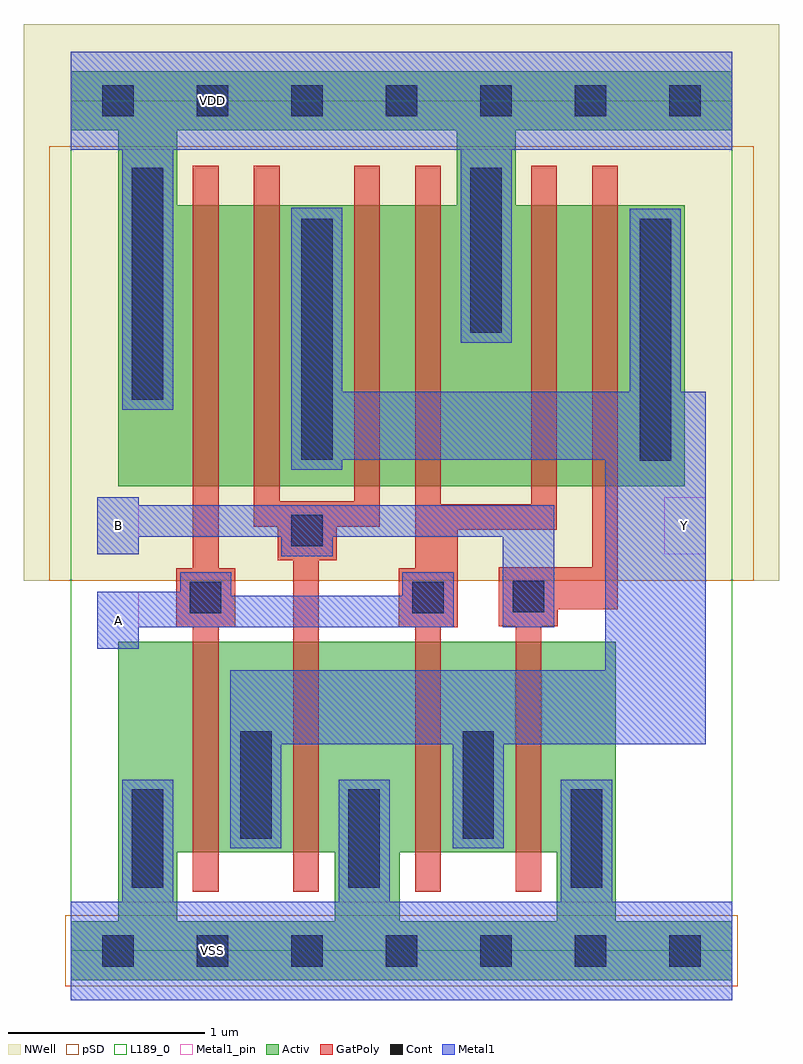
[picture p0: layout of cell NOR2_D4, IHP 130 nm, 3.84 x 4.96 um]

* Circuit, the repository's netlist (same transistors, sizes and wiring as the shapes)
* Extracted by KLayout with SG13G2 LVS runset on : 03/08/2026 22:24

.SUBCKT NOR2_D4
M$1 \$1 \$4 \$3 \$1 sg13_lv_nmos L=0.13u W=2.14u AS=0.81755p AD=0.4066p
+ PS=5.42u PD=2.9u rfmode=0
M$2 \$1 \$5 \$3 \$1 sg13_lv_nmos L=0.13u W=2.14u AS=0.81755p AD=0.4066p
+ PS=5.42u PD=2.9u rfmode=0
M$5 \$2 \$4 \$6 \$2 sg13_lv_pmos L=0.13u W=1.43u AS=0.6334p AD=0.1287p PS=4.22u
+ PD=1.61u rfmode=0
M$6 \$6 \$5 \$3 \$2 sg13_lv_pmos L=0.13u W=1.43u AS=0.1287p AD=0.2717p PS=1.61u
+ PD=1.81u rfmode=0
M$7 \$3 \$5 \$7 \$2 sg13_lv_pmos L=0.13u W=1.43u AS=0.2717p AD=0.1287p PS=1.81u
+ PD=1.61u rfmode=0
M$8 \$7 \$4 \$2 \$2 sg13_lv_pmos L=0.13u W=1.43u AS=0.1287p AD=0.3739p PS=1.61u
+ PD=2.19u rfmode=0
M$9 \$2 \$4 \$8 \$2 sg13_lv_pmos L=0.13u W=1.43u AS=0.3739p AD=0.1287p PS=2.19u
+ PD=1.61u rfmode=0
M$10 \$8 \$5 \$3 \$2 sg13_lv_pmos L=0.13u W=1.43u AS=0.1287p AD=0.4862p
+ PS=1.61u PD=3.54u rfmode=0
.ENDS NOR2_D4

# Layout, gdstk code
import gdstk
lib = gdstk.Library(unit=1e-6, precision=1e-09)
def R(c, l, rs):  # rectangles x0, y0, x1, y1
    for r in rs: c.add(gdstk.rectangle(r[:2], r[2:], *l))
def A(c, l, x, y, w, h, nx, ny, dx, dy):  # array of equal rectangles
    R(c, l, [(x+i*dx, y+j*dy, x+i*dx+w, y+j*dy+h) for i in range(nx) for j in range(ny)])
def P(c, l, *ps):  # polygons
    for p in ps: c.add(gdstk.Polygon(p, *l))
Activ = (1, 0)
GatPoly = (5, 0)
Cont = (6, 0)
Metal1 = (8, 0)
Metal1_pin = (8, 2)
pSD = (14, 0)
NWell = (31, 0)
L189_0 = (189, 0)

nor2_d4 = lib.new_cell('NOR2_D4')
P(nor2_d4, Activ, [(0,-0.15),(0,0.15),(0.24,0.15),(0.24,0.5),(0.54,0.5),(0.54,0.15),(1.34,0.15),(1.34,0.5),(1.67,0.5),(1.67,0.15),(2.47,0.15),(2.47,0.5),(0.24,0.5),(0.24,1.57),(2.77,1.57),(2.77,0.15),(3.36,0.15),(3.36,-0.15)],
  [(0.24,2.36),(0.24,4.17),(0.54,4.17),(0.54,3.79),(1.96,3.79),(1.96,4.17),(0,4.17),(0,4.47),(3.36,4.47),(3.36,4.17),(2.26,4.17),(2.26,3.79),(3.12,3.79),(3.12,2.36)])
P(nor2_d4, GatPoly, [(0.62,0.3),(0.62,1.645),(0.535,1.645),(0.535,1.945),(0.62,1.945),(0.62,3.99),(0.75,3.99),(0.75,1.945),(0.835,1.945),(0.835,1.645),(0.75,1.645),(0.75,0.3)],
  [(1.13,0.3),(1.13,1.985),(1.05,1.985),(1.05,2.155),(0.93,2.155),(0.93,3.99),(1.06,3.99),(1.06,2.285),(1.44,2.285),(1.44,3.99),(1.57,3.99),(1.57,2.155),(1.35,2.155),(1.35,1.985),(1.26,1.985),(1.26,0.3)],
  [(1.75,0.3),(1.75,1.645),(1.665,1.645),(1.665,1.945),(1.75,1.945),(1.75,3.99),(1.88,3.99),(1.88,2.27),(2.34,2.27),(2.34,3.99),(2.47,3.99),(2.47,2.14),(1.965,2.14),(1.965,1.645),(1.88,1.645),(1.88,0.3)],
  [(2.26,0.3),(2.26,1.65),(2.175,1.65),(2.175,1.95),(2.65,1.95),(2.65,3.99),(2.78,3.99),(2.78,1.735),(2.475,1.735),(2.475,1.65),(2.39,1.65),(2.39,0.3)])
A(nor2_d4, Cont, 0.16, -0.08, 0.16, 0.16, 7, 2, 0.48, 4.32)
R(nor2_d4, Cont, [(0.31,0.32,0.47,0.82), (1.41,0.32,1.57,0.82), (2.54,0.32,2.7,0.82), (0.86,0.57,1.02,1.115), (1.99,0.57,2.15,1.115), (0.605,1.715,0.765,1.875), (1.735,1.715,1.895,1.875), (2.245,1.72,2.405,1.88), (1.12,2.055,1.28,2.215), (2.89,2.49,3.05,3.72), (1.17,2.495,1.33,3.72), (0.31,2.8,0.47,3.98), (2.03,3.14,2.19,3.98)])
P(nor2_d4, Metal1, [(0,-0.25),(0,0.25),(0.26,0.25),(0.26,0.87),(0.52,0.87),(0.52,0.25),(1.36,0.25),(1.36,0.87),(1.62,0.87),(1.62,0.25),(2.49,0.25),(2.49,0.87),(2.75,0.87),(2.75,0.25),(3.36,0.25),(3.36,-0.25)],
  [(0.135,1.535),(0.135,1.825),(0.555,1.825),(0.555,1.925),(0.815,1.925),(0.815,1.805),(1.685,1.805),(1.685,1.925),(1.945,1.925),(1.945,1.645),(0.345,1.645),(0.345,1.535)],
  [(2.195,1.645),(2.195,2.105),(1.33,2.105),(1.33,2.005),(1.07,2.005),(1.07,2.105),(0.345,2.105),(0.345,2.015),(0.135,2.015),(0.135,2.305),(0.345,2.305),(0.345,2.265),(2.455,2.265),(2.455,1.645)],
  [(0.81,0.52),(0.81,1.425),(2.715,1.425),(2.715,2.495),(1.38,2.495),(1.38,2.445),(1.12,2.445),(1.12,3.775),(1.38,3.775),(1.38,2.84),(2.84,2.84),(2.84,3.77),(3.1,3.77),(3.1,2.84),(3.225,2.84),(3.225,1.05),(2.2,1.05),(2.2,0.52),(1.94,0.52),(1.94,1.05),(1.07,1.05),(1.07,0.52)],
  [(0.26,2.75),(0.26,4.07),(0,4.07),(0,4.57),(3.36,4.57),(3.36,4.07),(2.24,4.07),(2.24,3.09),(1.98,3.09),(1.98,4.07),(0.52,4.07),(0.52,2.75)])
R(nor2_d4, Metal1_pin, [(0,-0.25,3.36,0.25), (0.135,1.535,0.345,1.825), (0.135,2.015,0.345,2.305), (3.015,2.015,3.225,2.305), (0,4.07,3.36,4.57)])
R(nor2_d4, pSD, [(-0.03,-0.18,3.39,0.18), (-0.11,1.88,3.47,4.09)])
R(nor2_d4, NWell, [(-0.24,1.88,3.6,4.71)])
R(nor2_d4, L189_0, [(0,0,3.36,4.32)])
nor2_d4.add(gdstk.Label('B', (0.24,2.16), layer=8, texttype=25))
nor2_d4.add(gdstk.Label('A', (0.24,1.68), layer=8, texttype=25))
nor2_d4.add(gdstk.Label('VSS', (0.72,0), layer=8, texttype=25))
nor2_d4.add(gdstk.Label('Y', (3.12,2.16), layer=8, texttype=25))
nor2_d4.add(gdstk.Label('VDD', (0.72,4.32), layer=8, texttype=25))

lib.write_gds('NOR2_D4.gds')
